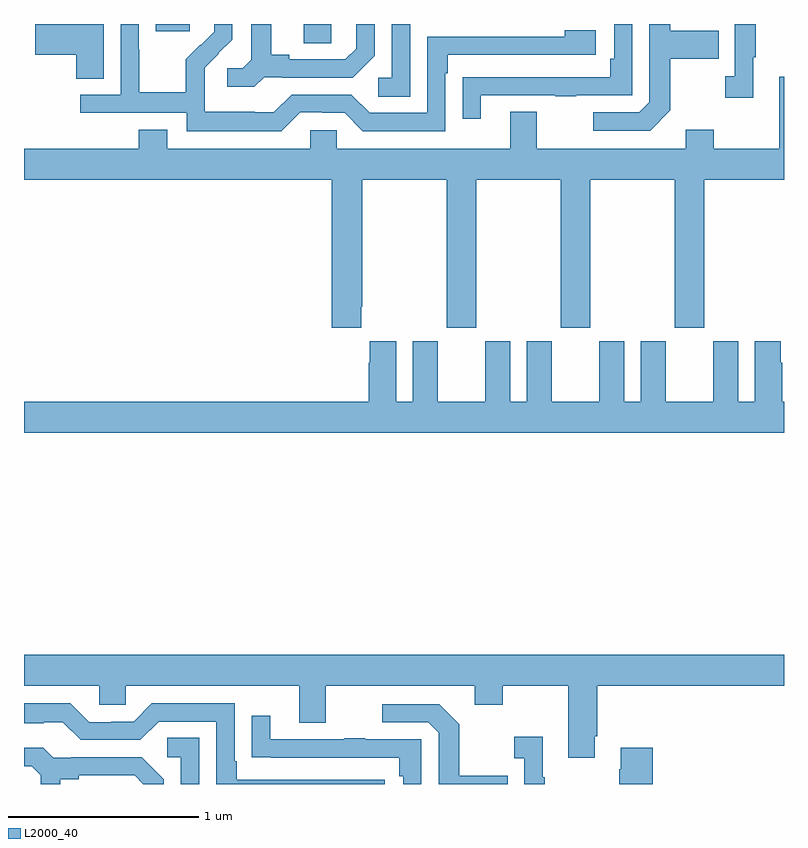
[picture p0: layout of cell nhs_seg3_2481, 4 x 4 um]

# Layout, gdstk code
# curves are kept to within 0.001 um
import gdstk
lib = gdstk.Library(unit=1e-6, precision=1e-09)
def R(c, l, rs):  # rectangles x0, y0, x1, y1
    for r in rs: c.add(gdstk.rectangle(r[:2], r[2:], *l))
def P(c, l, *ps):  # polygons
    for p in ps: c.add(gdstk.Polygon(p, *l))
L2000_40 = (2000, 40)

nhs_seg3_2481 = lib.new_cell('nhs_seg3_2481')
R(nhs_seg3_2481, L2000_40, [(240.473,704.299,240.618,704.4), (239.693,704.361,239.872,704.4)])
P(nhs_seg3_2481, L2000_40, [(240.264,704.121),(240.358,704.121),(240.358,704.118),(240.73,704.118),(240.846,704.234),(240.846,704.4),(240.749,704.4),(240.749,704.271),(240.692,704.214),(240.397,704.214),(240.397,704.237),(240.301,704.237),(240.301,704.4),(240.197,704.4),(240.197,704.213),(240.15,704.166),(240.069,704.166),(240.069,704.069),(240.212,704.069)],
  [(241.405,704.025),(241.795,704.025),(241.795,704.02),(241.907,704.02),(241.907,704.025),(242.202,704.025),(242.202,704.4),(242.106,704.4),(242.106,704.218),(242.086,704.218),(242.086,704.121),(241.411,704.121),(241.411,704.12),(241.309,704.12),(241.309,703.902),(241.405,703.902)],
  [(239.419,704.4),(239.058,704.4),(239.058,704.237),(239.276,704.237),(239.276,704.113),(239.419,704.113)],
  [(241.032,704.4),(240.936,704.4),(240.936,704.118),(240.864,704.118),(240.864,704.017),(241.032,704.017)],
  [(242.401,703.945),(242.401,704.218),(242.657,704.218),(242.657,704.365),(242.401,704.365),(242.401,704.4),(242.292,704.4),(242.292,703.989),(242.238,703.935),(241.995,703.935),(241.995,703.839),(242.295,703.839)],
  [(242.839,704.225),(242.851,704.225),(242.851,704.4),(242.742,704.4),(242.742,704.126),(242.691,704.126),(242.691,704.013),(242.839,704.013)],
  [(240.453,703.935),(240.569,703.935),(240.569,703.932),(240.687,703.932),(240.783,703.836),(241.218,703.836),(241.218,704.141),(241.231,704.141),(241.231,704.238),(242.008,704.238),(242.008,704.368),(241.847,704.368),(241.847,704.334),(241.122,704.334),(241.122,703.932),(240.819,703.932),(240.723,704.028),(240.408,704.028),(240.315,703.935),(240.215,703.935),(240.215,703.939),(239.952,703.939),(239.952,704.073),(239.95,704.073),(239.95,704.17),(240.096,704.318),(240.096,704.4),(240.002,704.4),(240.002,704.36),(239.931,704.289),(239.928,704.292),(239.851,704.215),(239.851,704.041),(239.607,704.041),(239.607,704.264),(239.604,704.264),(239.604,704.4),(239.508,704.4),(239.508,704.028),(239.295,704.028),(239.295,703.932),(239.856,703.932),(239.856,703.835),(240.353,703.835)],
  [(240.775,702.913),(240.78,702.913),(240.78,703.58),(241.225,703.58),(241.225,702.801),(241.38,702.801),(241.38,703.58),(241.825,703.58),(241.825,702.801),(241.98,702.801),(241.98,703.58),(242.425,703.58),(242.425,702.801),(242.58,702.801),(242.58,703.58),(243,703.58),(243,704.122),(242.975,704.122),(242.975,703.744),(242.631,703.744),(242.631,703.843),(242.483,703.843),(242.483,703.744),(241.699,703.744),(241.699,703.939),(241.559,703.939),(241.559,703.744),(240.645,703.744),(240.645,703.842),(240.507,703.842),(240.507,703.744),(239.755,703.744),(239.755,703.843),(239.603,703.843),(239.603,703.744),(239,703.744),(239,703.58),(240.62,703.58),(240.62,702.801),(240.775,702.801)],
  [(243,702.412),(242.99,702.412),(242.99,702.617),(242.983,702.617),(242.983,702.73),(242.846,702.73),(242.846,702.412),(242.758,702.412),(242.758,702.73),(242.627,702.73),(242.627,702.412),(242.377,702.412),(242.377,702.73),(242.246,702.73),(242.246,702.412),(242.158,702.412),(242.158,702.73),(242.027,702.73),(242.027,702.412),(241.777,702.412),(241.777,702.73),(241.646,702.73),(241.646,702.412),(241.558,702.412),(241.558,702.73),(241.427,702.73),(241.427,702.412),(241.177,702.412),(241.177,702.73),(241.046,702.73),(241.046,702.412),(240.958,702.412),(240.958,702.73),(240.821,702.73),(240.821,702.617),(240.815,702.617),(240.815,702.412),(239,702.412),(239,702.248),(243,702.248)],
  [(242.005,700.651),(242.018,700.651),(242.018,700.916),(243,700.916),(243,701.08),(239,701.08),(239,700.916),(239.397,700.916),(239.397,700.818),(239.535,700.818),(239.535,700.916),(240.449,700.916),(240.449,700.722),(240.589,700.722),(240.589,700.916),(241.373,700.916),(241.373,700.817),(241.521,700.817),(241.521,700.916),(241.865,700.916),(241.865,700.539),(242.005,700.539)],
  [(240.898,700.422),(240.121,700.422),(240.121,700.519),(240.108,700.519),(240.108,700.824),(239.673,700.824),(239.577,700.728),(239.459,700.728),(239.459,700.725),(239.343,700.725),(239.243,700.825),(239,700.825),(239,700.721),(239.105,700.721),(239.105,700.725),(239.205,700.725),(239.298,700.632),(239.613,700.632),(239.709,700.728),(240.012,700.728),(240.012,700.4),(240.898,700.4)],
  [(241.547,700.443),(241.291,700.443),(241.291,700.715),(241.185,700.821),(240.885,700.821),(240.885,700.725),(241.128,700.725),(241.182,700.671),(241.182,700.4),(241.547,700.4)],
  [(241.092,700.635),(240.797,700.635),(240.797,700.64),(240.685,700.64),(240.685,700.635),(240.295,700.635),(240.295,700.759),(240.199,700.759),(240.199,700.54),(240.301,700.54),(240.301,700.539),(240.976,700.539),(240.976,700.442),(240.996,700.442),(240.996,700.4),(241.092,700.4)],
  [(241.741,700.435),(241.729,700.435),(241.729,700.648),(241.581,700.648),(241.581,700.535),(241.632,700.535),(241.632,700.4),(241.741,700.4)],
  [(239.922,700.643),(239.754,700.643),(239.754,700.542),(239.826,700.542),(239.826,700.4),(239.922,700.4)],
  [(239.191,700.424),(239.287,700.424),(239.287,700.446),(239.582,700.446),(239.628,700.4),(239.736,700.4),(239.736,700.426),(239.62,700.542),(239.248,700.542),(239.248,700.539),(239.154,700.539),(239.102,700.591),(239,700.591),(239,700.494),(239.04,700.494),(239.087,700.447),(239.087,700.4),(239.191,700.4)],
  [(242.309,700.591),(242.141,700.591),(242.141,700.478),(242.134,700.478),(242.134,700.4),(242.309,700.4)])

lib.write_gds('nhs_seg3_2481.gds')
